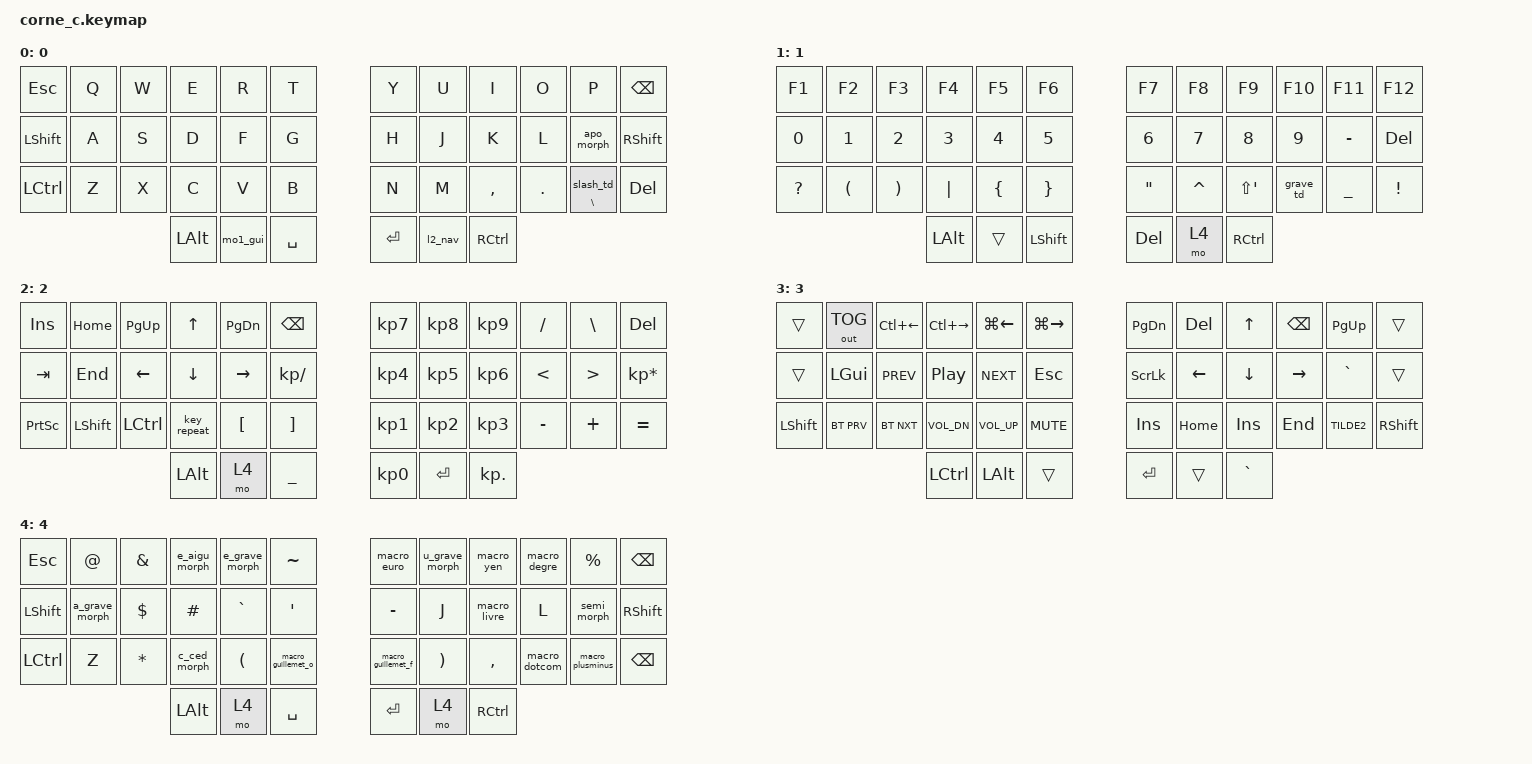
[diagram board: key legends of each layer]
#include <dt-bindings/zmk/modifiers.h>
#include <behaviors.dtsi>
#include <dt-bindings/zmk/bt.h>
#include <dt-bindings/zmk/keys.h>
#include <dt-bindings/zmk/outputs.h>

/ {
    behaviors {
        lgui_hold: lgui_hold {
            compatible = "zmk,behavior-hold-tap";
            #binding-cells = <2>;
            bindings = <&kp>, <&kp>;
            flavor = "hold-preferred";
            tapping-term-ms = <50>;
        };

        mo1_gui: mo1_gui {
            compatible = "zmk,behavior-tap-dance";
            #binding-cells = <0>;
            tapping-term-ms = <200>;
            bindings = <&mo 1>, <&lgui_hold LGUI LGUI>;
        };

        l2_nav: l2_nav {
            compatible = "zmk,behavior-tap-dance";
            #binding-cells = <0>;
            tapping-term-ms = <200>;
            bindings = <&mo 2>, <&mo 3>;
        };

        /* Direct apostrophe = dead key SQT + SPACE */
        macro_apostrophe: macro_apostrophe {
            compatible = "zmk,behavior-macro";
            #binding-cells = <0>;
            tap-ms = <20>;
            wait-ms = <50>;
            bindings = <&kp SQT &kp SPACE>;
        };

        /* .com */
        macro_dotcom: macro_dotcom {
            compatible = "zmk,behavior-macro";
            #binding-cells = <0>;
            tap-ms = <10>;
            wait-ms = <10>;
            bindings = <&kp DOT &kp C &kp O &kp M>;
        };

        /* ç = dead key SQT + C (US International) */
        macro_ccedilla: macro_ccedilla {
            compatible = "zmk,behavior-macro";
            #binding-cells = <0>;
            tap-ms = <20>;
            wait-ms = <50>;
            bindings = <&kp SQT &kp C>;
        };

        /* Ç = SQT + C shifté (pattern macro_e_acute_cap : le Shift physique
         * transformerait SQT en tréma mort ¨) */
        macro_ccedilla_cap: macro_ccedilla_cap {
            compatible = "zmk,behavior-macro";
            #binding-cells = <0>;
            tap-ms = <20>;
            wait-ms = <50>;
            bindings = <&kp SQT &kp LS(C)>;
        };

        /* ==== Couche signes (L4) : accents directs ==== */
        /* ê = CARET + E · Ê = CARET + LS(E) (Shift+GRAVE/SQT dérivent : morph requis) */
        macro_e_circ: macro_e_circ {
            compatible = "zmk,behavior-macro";
            #binding-cells = <0>;
            tap-ms = <20>;
            wait-ms = <50>;
            bindings = <&kp CARET &kp E>;
        };
        macro_e_circ_cap: macro_e_circ_cap {
            compatible = "zmk,behavior-macro";
            #binding-cells = <0>;
            tap-ms = <20>;
            wait-ms = <50>;
            bindings = <&kp CARET &kp LS(E)>;
        };
        /* ô = CARET + O · Ô = CARET + LS(O) */
        macro_o_circ: macro_o_circ {
            compatible = "zmk,behavior-macro";
            #binding-cells = <0>;
            tap-ms = <20>;
            wait-ms = <50>;
            bindings = <&kp CARET &kp O>;
        };
        macro_o_circ_cap: macro_o_circ_cap {
            compatible = "zmk,behavior-macro";
            #binding-cells = <0>;
            tap-ms = <20>;
            wait-ms = <50>;
            bindings = <&kp CARET &kp LS(O)>;
        };
        /* à = GRAVE + A · À = GRAVE + LS(A) (Shift+GRAVE = ~ mort en US-Intl) */
        macro_a_grave: macro_a_grave {
            compatible = "zmk,behavior-macro";
            #binding-cells = <0>;
            tap-ms = <20>;
            wait-ms = <50>;
            bindings = <&kp GRAVE &kp A>;
        };
        macro_a_grave_cap: macro_a_grave_cap {
            compatible = "zmk,behavior-macro";
            #binding-cells = <0>;
            tap-ms = <20>;
            wait-ms = <50>;
            bindings = <&kp GRAVE &kp LS(A)>;
        };
        /* ù = GRAVE + U · Ù = GRAVE + LS(U) */
        macro_u_grave: macro_u_grave {
            compatible = "zmk,behavior-macro";
            #binding-cells = <0>;
            tap-ms = <20>;
            wait-ms = <50>;
            bindings = <&kp GRAVE &kp U>;
        };
        macro_u_grave_cap: macro_u_grave_cap {
            compatible = "zmk,behavior-macro";
            #binding-cells = <0>;
            tap-ms = <20>;
            wait-ms = <50>;
            bindings = <&kp GRAVE &kp LS(U)>;
        };

        /* ==== Correction Lyes 06/11 : e accent AIGU sur E, e accent GRAVE sur R (L4) ==== */
        /* é = SQT + E · É = SQT + LS(E) */
        macro_e_aigu: macro_e_aigu {
            compatible = "zmk,behavior-macro";
            #binding-cells = <0>;
            tap-ms = <20>;
            wait-ms = <50>;
            bindings = <&kp SQT &kp E>;
        };
        macro_e_aigu_cap: macro_e_aigu_cap {
            compatible = "zmk,behavior-macro";
            #binding-cells = <0>;
            tap-ms = <20>;
            wait-ms = <50>;
            bindings = <&kp SQT &kp LS(E)>;
        };
        /* è = GRAVE + E · È = GRAVE + LS(E) */
        macro_e_grave: macro_e_grave {
            compatible = "zmk,behavior-macro";
            #binding-cells = <0>;
            tap-ms = <20>;
            wait-ms = <50>;
            bindings = <&kp GRAVE &kp E>;
        };
        macro_e_grave_cap: macro_e_grave_cap {
            compatible = "zmk,behavior-macro";
            #binding-cells = <0>;
            tap-ms = <20>;
            wait-ms = <50>;
            bindings = <&kp GRAVE &kp LS(E)>;
        };
        /* ± = Alt+0177 (pattern Alt-codes, NumLock requis) */
        macro_plusminus: macro_plusminus {
            compatible = "zmk,behavior-macro";
            #binding-cells = <0>;
            wait-ms = <40>;
            tap-ms = <40>;
            bindings = <&macro_press &kp LALT>, <&macro_tap &kp KP_NUMBER_0 &kp KP_NUMBER_1 &kp KP_NUMBER_7 &kp KP_NUMBER_7>, <&macro_release &kp LALT>;
        };

        /* ==== Couche signes : monnaies/degré/guillemets = Alt-codes Windows ====
         * Pattern officiel ZMK (doc Macros § Unicode Sequences) : Alt+0NNN pavé
         * numérique, wait/tap 40 ms (anti-regroupement BLE). NumLock requis. */
        macro_euro: macro_euro {
            compatible = "zmk,behavior-macro";
            #binding-cells = <0>;
            wait-ms = <40>;
            tap-ms = <40>;
            bindings = <&macro_press &kp LALT>, <&macro_tap &kp KP_NUMBER_0 &kp KP_NUMBER_1 &kp KP_NUMBER_2 &kp KP_NUMBER_8>, <&macro_release &kp LALT>;
        };
        macro_livre: macro_livre {
            compatible = "zmk,behavior-macro";
            #binding-cells = <0>;
            wait-ms = <40>;
            tap-ms = <40>;
            bindings = <&macro_press &kp LALT>, <&macro_tap &kp KP_NUMBER_0 &kp KP_NUMBER_1 &kp KP_NUMBER_6 &kp KP_NUMBER_3>, <&macro_release &kp LALT>;
        };
        macro_yen: macro_yen {
            compatible = "zmk,behavior-macro";
            #binding-cells = <0>;
            wait-ms = <40>;
            tap-ms = <40>;
            bindings = <&macro_press &kp LALT>, <&macro_tap &kp KP_NUMBER_0 &kp KP_NUMBER_1 &kp KP_NUMBER_6 &kp KP_NUMBER_5>, <&macro_release &kp LALT>;
        };
        macro_degre: macro_degre {
            compatible = "zmk,behavior-macro";
            #binding-cells = <0>;
            wait-ms = <40>;
            tap-ms = <40>;
            bindings = <&macro_press &kp LALT>, <&macro_tap &kp KP_NUMBER_0 &kp KP_NUMBER_1 &kp KP_NUMBER_7 &kp KP_NUMBER_6>, <&macro_release &kp LALT>;
        };
        macro_guillemet_o: macro_guillemet_o {
            compatible = "zmk,behavior-macro";
            #binding-cells = <0>;
            wait-ms = <40>;
            tap-ms = <40>;
            bindings = <&macro_press &kp LALT>, <&macro_tap &kp KP_NUMBER_0 &kp KP_NUMBER_1 &kp KP_NUMBER_7 &kp KP_NUMBER_1>, <&macro_release &kp LALT>;
        };
        macro_guillemet_f: macro_guillemet_f {
            compatible = "zmk,behavior-macro";
            #binding-cells = <0>;
            wait-ms = <40>;
            tap-ms = <40>;
            bindings = <&macro_press &kp LALT>, <&macro_tap &kp KP_NUMBER_0 &kp KP_NUMBER_1 &kp KP_NUMBER_8 &kp KP_NUMBER_7>, <&macro_release &kp LALT>;
        };

        /* --- Tap dances --- */
        /* / : tap=/ · 2×=| · hold=\ — ressuscite tel quel (implantation d'origine) */
        slash_td: slash_td {
            compatible = "zmk,behavior-tap-dance";
            #binding-cells = <0>;
            tapping-term-ms = <300>;
            bindings = <&kp FSLH>, <&kp LS(BSLH)>;
        };
        slash_behavior: slash_behavior {
            compatible = "zmk,behavior-hold-tap";
            #binding-cells = <2>;
            bindings = <&kp>, <&slash_td>;
            flavor = "tap-preferred";
            tapping-term-ms = <200>;
        };

        /* ; tap=; · 2× = ' (apostrophe US-Intl) — pattern de l'ancienne apo_ht */
        semi_td: semi_td {
            compatible = "zmk,behavior-tap-dance";
            #binding-cells = <0>;
            tapping-term-ms = <220>;
            bindings = <&kp SEMI>, <&macro_apostrophe>;
        };

        /* Shift + ; = : (pattern apo_morph prouve en production) */
        semi_morph: semi_morph {
            compatible = "zmk,behavior-mod-morph";
            #binding-cells = <0>;
            bindings = <&semi_td>, <&kp LS(SEMI)>;
            mods = <(MOD_LSFT | MOD_RSFT)>;
        };

        /* Jumeau inverse pour L0 : tap = apostrophe · 2x = ; · Shift = : */
        apo_td: apo_td {
            compatible = "zmk,behavior-tap-dance";
            #binding-cells = <0>;
            tapping-term-ms = <220>;
            bindings = <&macro_apostrophe>, <&kp SEMI>;
        };

        apo_morph: apo_morph {
            compatible = "zmk,behavior-mod-morph";
            #binding-cells = <0>;
            bindings = <&apo_td>, <&kp LS(SEMI)>;
            mods = <(MOD_LSFT | MOD_RSFT)>;
        };

        /* Grave dead key (tap) → è à ù · aigu dead key (2×) → á é í */
        grave_td: grave_td {
            compatible = "zmk,behavior-tap-dance";
            #binding-cells = <0>;
            tapping-term-ms = <300>;
            bindings = <&kp GRAVE>, <&kp SQT>;
        };

        /* Apostrophe: tap=' (immediate), hold=; — parameterized hold-tap
         * (bindings = BARE phandles, keycodes passed at the reference site) */
        /* A: tap=a instant (Ctrl+A lag fix), hold=@ — À via L1 dead-key ` + a */

        /* --- Mod-morph: apostrophe with Shift → colon --- */
        e_aigu_morph: e_aigu_morph {
            compatible = "zmk,behavior-mod-morph";
            #binding-cells = <0>;
            bindings = <&macro_e_aigu>, <&macro_e_aigu_cap>;
            mods = <(MOD_LSFT | MOD_RSFT)>;
        };
        e_grave_morph: e_grave_morph {
            compatible = "zmk,behavior-mod-morph";
            #binding-cells = <0>;
            bindings = <&macro_e_grave>, <&macro_e_grave_cap>;
            mods = <(MOD_LSFT | MOD_RSFT)>;
        };
        a_grave_morph: a_grave_morph {
            compatible = "zmk,behavior-mod-morph";
            #binding-cells = <0>;
            bindings = <&macro_a_grave>, <&macro_a_grave_cap>;
            mods = <(MOD_LSFT | MOD_RSFT)>;
        };
        u_grave_morph: u_grave_morph {
            compatible = "zmk,behavior-mod-morph";
            #binding-cells = <0>;
            bindings = <&macro_u_grave>, <&macro_u_grave_cap>;
            mods = <(MOD_LSFT | MOD_RSFT)>;
        };
        c_ced_morph: c_ced_morph {
            compatible = "zmk,behavior-mod-morph";
            #binding-cells = <0>;
            bindings = <&macro_ccedilla>, <&macro_ccedilla_cap>;
            mods = <(MOD_LSFT | MOD_RSFT)>;
        };

    };

    combos {
        compatible = "zmk,combos";

        combo_capslock {
            timeout-ms = <40>;
            bindings = <&kp CLCK>;
            key-positions = <0 11>;
            layers = <0>;
        };

        combo_capsword {
            timeout-ms = <40>;
            bindings = <&caps_word>;
            key-positions = <30 29>;
            layers = <0>;
        };

        combo_nav_toggle {
            timeout-ms = <40>;
            bindings = <&tog 3>;
            key-positions = <9 10 11>;
            layers = <0 1 2 3>;
        };

        combo_numlock {
            bindings = <&kp KP_NUMLOCK>;
            key-positions = <0 12 11 23>;
            timeout-ms = <80>;
            layers = <0>;
            require-prior-idle-ms = <150>;
        };

        combo_bootloader_L {
            bindings = <&bootloader>;
            key-positions = <3 4 14 5>;
            timeout-ms = <100>;
            require-prior-idle-ms = <150>;
            layers = <0>;
        };

        combo_bootloader_R {
            bindings = <&bootloader>;
            key-positions = <6 7 8 21>;
            timeout-ms = <100>;
            require-prior-idle-ms = <150>;
            layers = <0>;
        };

        copy {
            bindings = <&kp LC(C)>;
            key-positions = <3 4>;
            timeout-ms = <40>;
            layers = <0>;
            require-prior-idle-ms = <250>;
        };

        paste {
            bindings = <&kp LC(V)>;
            key-positions = <16 15>;
            timeout-ms = <40>;
            layers = <0>;
            require-prior-idle-ms = <250>;
        };

        cut {
            bindings = <&kp LC(X)>;
            key-positions = <27 28>;
            timeout-ms = <40>;
            layers = <0>;
            require-prior-idle-ms = <250>;
        };

        combo_shift_a_tab {
            bindings = <&kp TAB>;
            key-positions = <12 13>;
            timeout-ms = <30>;
            require-prior-idle-ms = <0>;
            layers = <0>;
        };
    };

    keymap {
        compatible = "zmk,keymap";

        default_layer {
            label = "0";
            bindings = <
&kp ESCAPE  &kp Q                  &kp W                  &kp E     &kp R     &kp T    &kp Y      &kp U    &kp I      &kp O    &kp P                  &kp BSPC
&kp LSHFT  &kp A                   &kp S             &kp D                    &kp F     &kp G                &kp H      &kp J    &kp K      &kp L    &apo_morph              &kp RSHFT
&kp LCTRL   &kp Z                  &kp X             &kp C                    &kp V     &kp B                &kp N      &kp M    &kp COMMA  &kp DOT         &slash_behavior BSLH 0  &kp DEL
                                                     &kp LALT                 &mo1_gui  &kp SPACE            &kp ENTER  &l2_nav  &kp RCTRL
            >;
        };

        num_layer {
            label = "1";
            bindings = <
&kp F1        &kp F2    &kp F3    &kp F4        &kp F5    &kp F6       &kp F7             &kp F8     &kp F9       &kp F10  &kp F11    &kp F12
&kp N0        &kp N1    &kp N2    &kp N3        &kp N4    &kp N5       &kp N6             &kp N7     &kp N8       &kp N9   &kp MINUS  &kp DEL
&kp QUESTION  &kp LPAR  &kp RPAR  &kp PIPE  &kp LEFT_BRACE  &kp RIGHT_BRACE     &kp DOUBLE_QUOTES  &kp CARET  &kp LS(SQT)  &grave_td  &kp UNDER  &kp EXCL
                                  &kp LEFT_ALT  &trans    &kp LSHFT    &kp DELETE         &mo 4      &kp RCTRL
            >;
        };

        fr_accents_signs {
            label = "2";
            bindings = <
&kp INSERT       &kp HOME   &kp PG_UP         &kp UP_ARROW    &kp PAGE_DOWN     &kp BSPC             &kp KP_NUMBER_7  &kp KP_NUMBER_8  &kp KP_NUMBER_9  &kp FSLH   &kp BSLH  &kp DEL
&kp TAB          &kp END    &kp LEFT_ARROW    &kp DOWN_ARROW  &kp RIGHT_ARROW   &kp KP_DIVIDE       &kp KP_NUMBER_4  &kp KP_NUMBER_5  &kp KP_NUMBER_6  &kp LT     &kp GT    &kp KP_MULTIPLY
&kp PRINTSCREEN  &kp LSHFT  &kp LEFT_CONTROL  &key_repeat     &kp LEFT_BRACKET  &kp RIGHT_BRACKET    &kp KP_NUMBER_1  &kp KP_NUMBER_2  &kp KP_NUMBER_3  &kp MINUS  &kp PLUS  &kp EQUAL
                                              &kp LALT        &mo 4             &kp UNDER            &kp KP_NUMBER_0  &kp RET          &kp KP_DOT
            >;
        };


        nav_layer {
            label = "3";
            bindings = <
&trans     &out OUT_TOG  &kp LC(LEFT)  &kp LC(RIGHT)  &kp LG(LEFT)  &kp LG(RIGHT)    &kp PAGE_DOWN   &kp DEL   &kp UP     &kp BSPC   &kp PAGE_UP  &trans
&trans     &kp LGUI      &kp C_PREV    &kp C_PP       &kp C_NEXT    &kp ESCAPE       &kp SCROLLLOCK  &kp LEFT  &kp DOWN   &kp RIGHT  &kp GRAVE    &trans
&kp LSHFT  &bt BT_PRV    &bt BT_NXT    &kp C_VOL_DN   &kp C_VOL_UP  &kp C_MUTE       &kp INS         &kp HOME  &kp INS    &kp END    &kp TILDE2   &kp RSHFT
                                       &kp LCTRL      &kp LEFT_ALT  &trans           &kp ENTER       &trans    &kp GRAVE
            >;
        };
        signes_layer {
            label = "4";
            bindings = <
&kp ESCAPE  &kp AT_SIGN   &kp AMPERSAND    &e_aigu_morph  &e_grave_morph  &kp TILDE    &macro_euro  &u_grave_morph  &macro_yen  &macro_degre  &kp PRCNT        &kp BSPC
&kp LSHFT   &a_grave_morph &kp DLLR        &kp HASH       &kp GRAVE      &kp SQT      &kp MINUS    &kp J           &macro_livre &kp L          &semi_morph      &kp RSHFT
&kp LCTRL   &kp Z          &kp STAR        &c_ced_morph   &kp LPAR       &macro_guillemet_o  &macro_guillemet_f &kp RPAR  &kp COMMA  &macro_dotcom  &macro_plusminus  &kp BSPC
                                             &kp LALT      &mo 4          &kp SPACE    &kp ENTER    &mo 4           &kp RCTRL
            >;
        };
    };
};

&soft_off {
    /delete-property/ split-peripheral-off-on-press;

    hold-time-ms = <3000>;
};
